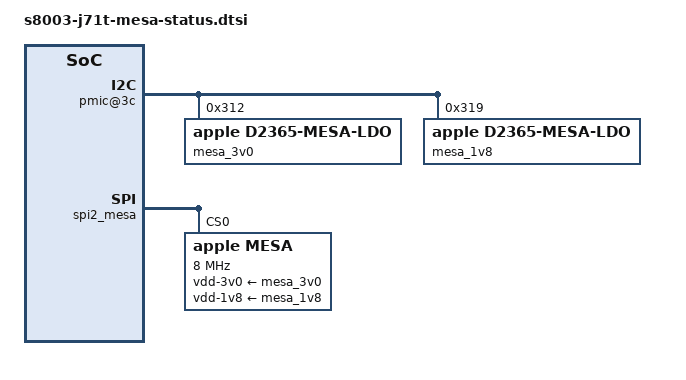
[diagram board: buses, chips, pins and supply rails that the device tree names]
// SPDX-License-Identifier: GPL-2.0+ OR MIT
/*
 * J71t Mesa status-only bring-up.
 *
 * No sensor interrupt is declared because ADT GPIO mode 3 has not yet been
 * translated to a Linux trigger.  The client can only sequence the two
 * volatile supplies and issue its single, explicit 23-byte status poll.
 */

/ {
	/* Live iOS arm-io clock-frequencies[0x12f - 0x100]. */
	spi2_nclk: clock-spi2-mesa {
		compatible = "fixed-clock";
		#clock-cells = <0>;
		clock-frequency = <61538461>;
	};
};

&{/soc/i2c@20a110000/pmic@3c} {
	mesa_3v0: regulator@312 {
		compatible = "apple,d2365-mesa-ldo";
		reg = <0x312>;
		regulator-name = "mesa-3v0";
	};

	mesa_1v8: regulator@319 {
		compatible = "apple,d2365-mesa-ldo";
		reg = <0x319>;
		regulator-name = "mesa-1v8";
	};
};

&{/soc} {
	spi2_mesa: spi@20a088000 {
		compatible = "apple,s8000-spi";
		reg = <0x2 0x0a088000 0x0 0x4000>;
		#address-cells = <1>;
		#size-cells = <0>;
		interrupt-parent = <&aic>;
		interrupts = <AIC_IRQ 190 IRQ_TYPE_LEVEL_HIGH>;
		clocks = <&spi2_nclk>;
		power-domains = <&ps_spi2>;
		status = "okay";
		/* ADT function-spi_cs0 is null: use controller-internal CS. */

		mesa: biosensor@0 {
			compatible = "apple,mesa";
			reg = <0>;
			spi-max-frequency = <8000000>;
			/* Mesa init defaults phase=3: CPHA plus Samsung CFG[20]. */
			spi-cpha;
			apple,s8000-spi-clock-phase = <3>;
			/* ADT reg +16 = 20 ns; Apple rounds this up to 1 us. */
			spi-cs-setup-delay-ns = <1000>;
			spi-cs-hold-delay-ns = <1000>;
			vdd-3v0-supply = <&mesa_3v0>;
			vdd-1v8-supply = <&mesa_1v8>;
			apple,power-off-delay-ms = <1000>;
		};
	};
};
